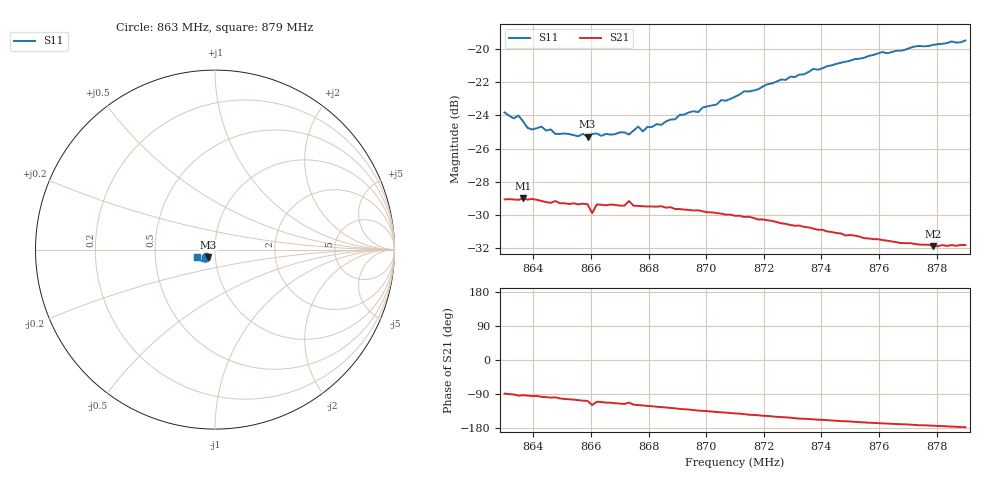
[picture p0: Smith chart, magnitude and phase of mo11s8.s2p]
# HZ S RI R 50
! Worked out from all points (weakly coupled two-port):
!   101 points, 863 MHz to 879 MHz, reference 50 ohm
!   highest |S21| = -29.00 dB at 863.64 MHz (marker M1); lowest = -31.9 dB at 877.88 MHz (marker M2)
!   lowest |S11| = -25.3 dB at 865.88 MHz (marker M3), VSWR 1.12, Z = 46.3 - j3.77 ohm
!   |S11| at or under -10 dB: start of sweep to end of sweep
!   S12 and S22 are empty: the file has one direction only
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8.63e8  -0.051 -0.0393  0.000889 -0.0352  0 0  0 0
8.6332e8  -0.0483 -0.0386  -0.00062 -0.0352  0 0  0 0
8.6348e8  -0.0487 -0.04  -0.00253 -0.0351  0 0  0 0
8.6364e8  -0.0464 -0.0389  -0.00184 -0.0354  0 0  0 0
8.6396e8  -0.0432 -0.0375  -0.00316 -0.0352  0 0  0 0
8.6428e8  -0.042 -0.0406  -0.00431 -0.0346  0 0  0 0
8.6476e8  -0.0389 -0.0397  -0.00516 -0.0345  0 0  0 0
8.6572e8  -0.0367 -0.0416  -0.0102 -0.0327  0 0  0 0
8.6588e8  -0.0364 -0.0405  -0.0106 -0.0324  0 0  0 0
8.6604e8  -0.0362 -0.042  -0.0155 -0.0281  0 0  0 0
8.662e8  -0.0359 -0.0426  -0.0117 -0.032  0 0  0 0
8.6716e8  -0.0324 -0.0458  -0.0148 -0.0303  0 0  0 0
8.6732e8  -0.0282 -0.0476  -0.0132 -0.0323  0 0  0 0
8.6764e8  -0.0321 -0.0487  -0.0164 -0.0295  0 0  0 0
8.678e8  -0.0311 -0.0472  -0.0167 -0.0292  0 0  0 0
8.6844e8  -0.0311 -0.0502  -0.019 -0.0278  0 0  0 0
8.6908e8  -0.0335 -0.0537  -0.0208 -0.0256  0 0  0 0
8.71e8  -0.0388 -0.0604  -0.0245 -0.0198  0 0  0 0
8.7372e8  -0.0552 -0.0674  -0.0264 -0.0115  0 0  0 0
8.7644e8  -0.0775 -0.0596  -0.0258 -0.0053  0 0  0 0
8.7788e8  -0.0898 -0.0501  -0.0253 -0.00299  0 0  0 0
8.79e8  -0.0977 -0.0411  -0.0257 -0.00125  0 0  0 0
